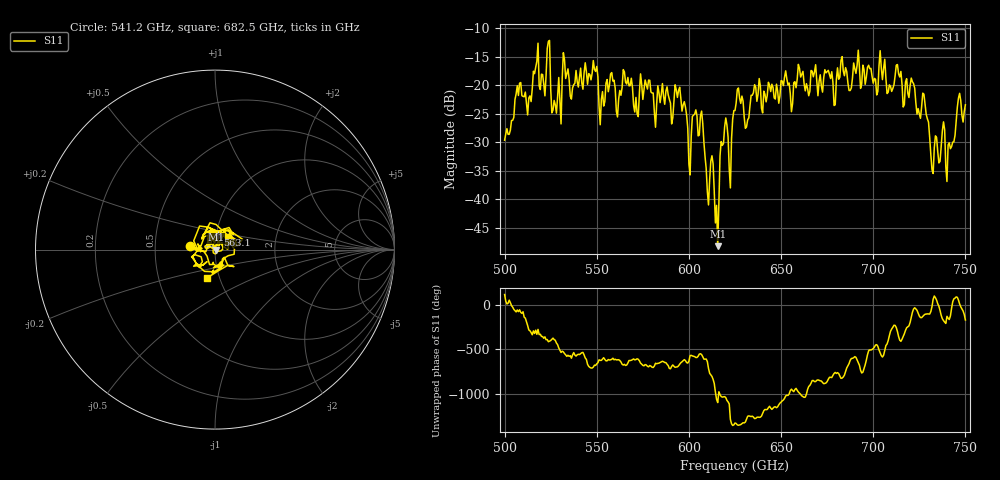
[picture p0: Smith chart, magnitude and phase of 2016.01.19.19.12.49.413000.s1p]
!Created with skrf (http://scikit-rf.org).
# GHz S RI R 50.0
!freq ReS11 ImS11
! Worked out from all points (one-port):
!   401 points, 500 GHz to 750 GHz, reference 50 ohm
!   lowest |S11| = -48.2 dB at 615.6 GHz (marker M1), VSWR 1.01, Z = 50.4 - j0.125 ohm
!   |S11| at or under -10 dB: start of sweep to end of sweep
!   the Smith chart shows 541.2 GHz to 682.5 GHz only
!   S11 on the Smith chart (normalised r, x): 541.2 GHz: 0.75, +0.03; 563.1 GHz: 1.02, +0.16; 682.5 GHz: 0.87, -0.28
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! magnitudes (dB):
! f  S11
! 500 GHz  -29.6
! 507.5 GHz  -21.8
! 513.1 GHz  -22.2
! 516.9 GHz  -16.8
! 520.6 GHz  -18.2
! 523.8 GHz  -12.4
! 526.9 GHz  -22.7
! 531.2 GHz  -18.8
! 541.2 GHz  -17.0
! 562.5 GHz  -20.9
! 563.1 GHz  -21.8
! 593.8 GHz  -22.1
! 600 GHz  -33.8
! 606.9 GHz  -24.5
! 610 GHz  -38.6
! 615.6 GHz  -48.2
! 618.8 GHz  -30.2
! 622.5 GHz  -38.0
! 625 GHz  -24.4
! 656.2 GHz  -23.2
! 682.5 GHz  -15.7
! 687.5 GHz  -20.9
! 718.8 GHz  -21.4
! 728.1 GHz  -23.4
! 731.9 GHz  -34.7
! 740.6 GHz  -30.5
! 746.2 GHz  -22.2
! 750 GHz  -23.4
